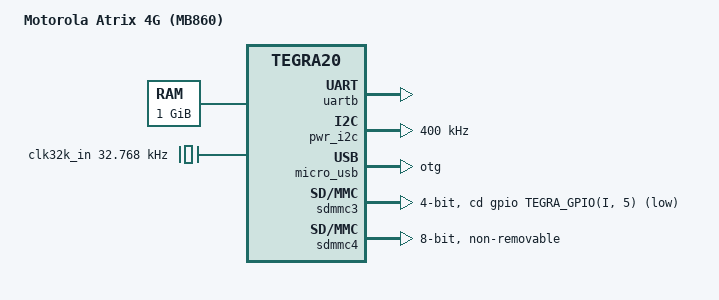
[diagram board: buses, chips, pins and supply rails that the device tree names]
// SPDX-License-Identifier: GPL-2.0
/dts-v1/;

#include <dt-bindings/input/input.h>

#include "tegra20.dtsi"

/ {
	model = "Motorola Atrix 4G (MB860)";
	compatible = "motorola,olympus", "nvidia,tegra20";

	chosen {
		stdout-path = &uartb;
	};

	aliases {
		i2c0 = &pwr_i2c;

		mmc0 = &sdmmc4;	/* eMMC */
		mmc1 = &sdmmc3; /* uSD slot */

		rtc1 = "/rtc@7000e000";

		usb0 = &micro_usb;
	};

	memory {
		device_type = "memory";
		reg = <0x00000000 0x40000000>;
	};

	uartb: serial@70006040 {
		status = "okay";
	};

	pwr_i2c: i2c@7000d000 {
		status = "okay";
		clock-frequency = <400000>;
	};

	micro_usb: usb@c5000000 {
		status = "okay";
		dr_mode = "otg";
	};

	usb-phy@c5000000 {
		status = "okay";
	};

	sdmmc3: sdhci@c8000400 {
		status = "okay";
		bus-width = <4>;

		cd-gpios = <&gpio TEGRA_GPIO(I, 5) GPIO_ACTIVE_LOW>;
	};

	sdmmc4: sdhci@c8000600 {
		status = "okay";
		bus-width = <8>;
		non-removable;
	};

	/* 32KHz oscillator which is used by PMC */
	clk32k_in: clock-32k-in {
		compatible = "fixed-clock";
		#clock-cells = <0>;
		clock-frequency = <32768>;
		clock-output-names = "ref-oscillator";
	};
};
